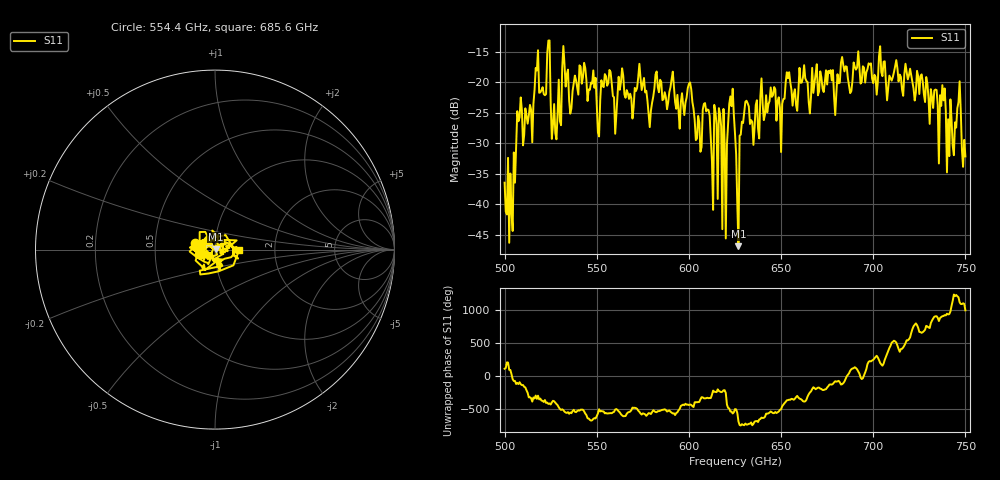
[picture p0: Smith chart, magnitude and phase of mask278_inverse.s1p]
!Created with skrf (http://scikit-rf.org).
# GHz S MA R 50.0
!freq magS11 angS11
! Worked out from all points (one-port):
!   401 points, 500 GHz to 750 GHz, reference 50 ohm
!   lowest |S11| = -46.9 dB at 626.9 GHz (marker M1), VSWR 1.01, Z = 50.3 + j0.295 ohm
!   |S11| at or under -10 dB: start of sweep to end of sweep
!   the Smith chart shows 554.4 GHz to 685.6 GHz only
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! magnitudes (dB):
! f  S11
! 500 GHz  -36.5
! 503.8 GHz  -41.2
! 508.1 GHz  -25.8
! 513.8 GHz  -23.7
! 517.5 GHz  -18.1
! 523.8 GHz  -13.2
! 526.9 GHz  -23.6
! 531.2 GHz  -17.7
! 542.5 GHz  -19.2
! 551.2 GHz  -28.9
! 562.5 GHz  -21.2
! 593.8 GHz  -22.1
! 600.6 GHz  -20.0
! 605.6 GHz  -26.6
! 609.4 GHz  -24.8
! 619.4 GHz  -30.0
! 622.5 GHz  -22.3
! 625 GHz  -28.4
! 626.9 GHz  -46.9
! 631.2 GHz  -23.0
! 634.4 GHz  -26.5
! 656.2 GHz  -23.8
! 687.5 GHz  -21.8
! 718.8 GHz  -19.5
! 737.5 GHz  -20.5
! 742.5 GHz  -26.2
! 746.2 GHz  -23.3
! 750 GHz  -32.2
